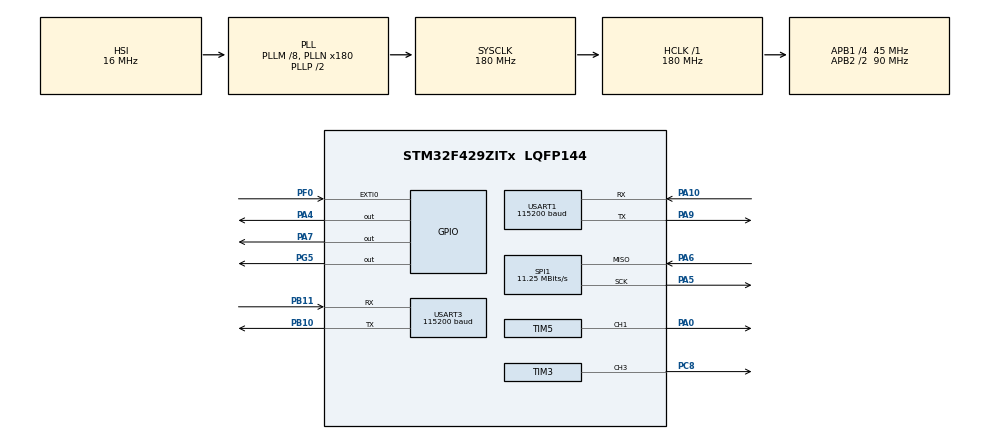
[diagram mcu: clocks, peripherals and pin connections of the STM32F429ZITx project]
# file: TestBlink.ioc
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Mcu.Family=STM32F4
Mcu.Name=STM32F429ZITx
Mcu.Package=LQFP144
NVIC.PriorityGroup=NVIC_PRIORITYGROUP_4
NVIC.TIM3_IRQn=true\:0\:0\:false\:false\:true\:true\:true
NVIC.TIM5_IRQn=true\:0\:0\:false\:false\:true\:true\:true
NVIC.USART3_IRQn=true\:0\:0\:false\:false\:true\:true\:true
PA0/WKUP.Signal=S_TIM5_CH1
PA10.Mode=Asynchronous
PA10.Signal=USART1_RX
PA4.GPIO_Speed=GPIO_SPEED_FREQ_VERY_HIGH
PA4.Signal=GPIO_Output
PA5.GPIO_PuPd=GPIO_PULLUP
PA5.GPIO_Speed=GPIO_SPEED_FREQ_VERY_HIGH
PA5.Mode=RX_Only_Simplex_Unidirect_Master
PA5.Signal=SPI1_SCK
PA6.GPIO_PuPd=GPIO_PULLUP
PA6.Mode=RX_Only_Simplex_Unidirect_Master
PA6.Signal=SPI1_MISO
PA7.GPIO_Speed=GPIO_SPEED_FREQ_VERY_HIGH
PA7.Signal=GPIO_Output
PA9.Mode=Asynchronous
PA9.Signal=USART1_TX
PB10.Mode=Asynchronous
PB10.Signal=USART3_TX
PB11.Mode=Asynchronous
PB11.Signal=USART3_RX
PC8.Signal=S_TIM3_CH3
PF0.GPIO_ModeDefaultEXTI=GPIO_MODE_IT_RISING
PF0.GPIO_PuPd=GPIO_PULLDOWN
PF0.Signal=GPXTI0
PG5.Signal=GPIO_Output
PH0/OSC_IN.Mode=HSE-External-Oscillator
PH0/OSC_IN.Signal=RCC_OSC_IN
PH1/OSC_OUT.Mode=HSE-External-Oscillator
PH1/OSC_OUT.Signal=RCC_OSC_OUT
ProjectManager.HeapSize=0x200
ProjectManager.StackSize=0x400
ProjectManager.TargetToolchain=MDK-ARM V5.27
RCC.48MHZClocksFreq_Value=90000000
RCC.AHBFreq_Value=180000000
RCC.APB1CLKDivider=RCC_HCLK_DIV4
RCC.APB1Freq_Value=45000000
RCC.APB1TimFreq_Value=90000000
RCC.APB2CLKDivider=RCC_HCLK_DIV2
RCC.APB2Freq_Value=90000000
RCC.APB2TimFreq_Value=180000000
RCC.CortexFreq_Value=180000000
RCC.HCLKFreq_Value=180000000
RCC.HSE_VALUE=25000000
RCC.HSI_VALUE=16000000
RCC.LSE_VALUE=32768
RCC.PLLM=8
RCC.PLLN=180
RCC.SYSCLKFreq_VALUE=180000000
RCC.SYSCLKSource=RCC_SYSCLKSOURCE_PLLCLK
RCC.VCOOutputFreq_Value=360000000
SH.S_TIM3_CH3.0=TIM3_CH3,PWM Generation3 CH3
SH.S_TIM5_CH1.0=TIM5_CH1,PWM Generation1 CH1
SPI1.BaudRatePrescaler=SPI_BAUDRATEPRESCALER_8
SPI1.CLKPhase=SPI_PHASE_1EDGE
SPI1.CLKPolarity=SPI_POLARITY_LOW
SPI1.CalculateBaudRate=11.25 MBits/s
SPI1.DataSize=SPI_DATASIZE_16BIT
SPI1.Direction=SPI_DIRECTION_2LINES_RXONLY
SPI1.FirstBit=SPI_FIRSTBIT_MSB
SPI1.Mode=SPI_MODE_MASTER
SPI1.VirtualType=VM_MASTER
TIM3.Channel-PWM\ Generation3\ CH3=TIM_CHANNEL_3
TIM3.Period=100
TIM3.Prescaler=3
TIM3.Pulse-PWM\ Generation3\ CH3=50
TIM5.Channel-Output\ Compare2\ No\ Output=TIM_CHANNEL_2
TIM5.Channel-PWM\ Generation1\ CH1=TIM_CHANNEL_1
TIM5.OCPolarity_2=TIM_OCPOLARITY_HIGH
TIM5.Period=5000000
TIM5.Prescaler=2
TIM5.Pulse-Output\ Compare2\ No\ Output=50000
TIM5.Pulse-PWM\ Generation1\ CH1=50000
USART1.BaudRate=115200
USART1.Mode=MODE_TX
USART1.VirtualMode=VM_ASYNC
USART3.BaudRate=115200
USART3.VirtualMode=VM_ASYNC
VP_TIM3_VS_ClockSourceINT.Mode=Internal
VP_TIM5_VS_ClockSourceINT.Mode=Internal
VP_TIM5_VS_no_output2.Mode=Output Compare2 No Output
board=custom

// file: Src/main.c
/* USER CODE BEGIN Header */
/**
  ******************************************************************************
  * @file           : main.c
  * @brief          : Main program body
  ******************************************************************************
  * @attention
  *
  * <h2><center>&copy; Copyright (c) 2020 STMicroelectronics.
  * All rights reserved.</center></h2>
  *
  * This software component is licensed by ST under BSD 3-Clause license,
  * the "License"; You may not use this file except in compliance with the
  * License. You may obtain a copy of the License at:
  *                        opensource.org/licenses/BSD-3-Clause
  *
  ******************************************************************************
  */
/* USER CODE END Header */

#include "main.h"

/* USER CODE BEGIN Includes */
#include "stdio.h"
#include "ADS8860.h"
#include "globalvars.h"
/* USER CODE END Includes */

SPI_HandleTypeDef hspi1;

TIM_HandleTypeDef htim3;
TIM_HandleTypeDef htim5;

UART_HandleTypeDef huart1;
UART_HandleTypeDef huart3;

/* USER CODE BEGIN PV */
extern volatile int triggered;
volatile int triggered;
uint16_t spektrum[288];
uint16_t werte[288];
volatile int dataReady = 0;
uint8_t readData = 0;
uint8_t recvdata[10];
/* USER CODE END PV */

void SystemClock_Config(void);
static void MX_GPIO_Init(void);
static void MX_SPI1_Init(void);
static void MX_USART1_UART_Init(void);
static void MX_TIM3_Init(void);
static void MX_TIM5_Init(void);
static void MX_USART3_UART_Init(void);
/* USER CODE BEGIN PFP */

// function, that sends data (1 byte) via UART to the digital host
void uart_put(uint8_t data){
 HAL_UART_Transmit(&huart1, &data, 1, 10);
}

/* This function is triggered by Timer 3,
so it is called every period of the CLK pulse of the spectrometer.
Due to this triggering, we make sure, that the analog value is sampled
exactly at the moment, a pixel value is clocked out */
void TIM3_IRQHandler(void)
{
  /* USER CODE BEGIN TIM3_IRQn 0 */

  /* USER CODE END TIM3_IRQn 0 */
  HAL_TIM_IRQHandler(&htim3);
  /* USER CODE BEGIN TIM3_IRQn 1 */

	/* Sample values only, if the correct amount of falling edges have been counted */
	if ((triggered >= 87) && (triggered < 375)) {
		// sample pixel value
    werte[triggered-87] = ADS8860_ReadValue();
  } else if (triggered == 375) {
		// if enough pixel values have been sampled, set dataReady flag
		dataReady = 1;
	}
	// increment variable triggered every period of Timer 3
	triggered++;
  /* USER CODE END TIM3_IRQn 1 */
}

/* This function is called on the falling edge of Timer 5 Channel 2 (Spectrometer ST) */
void HAL_TIM_PWM_PulseFinishedCallback(TIM_HandleTypeDef *htim) {
	// check that the interrupt was triggered by the right timer (Timer 5)
  if(htim->Instance == TIM5){
		// reset trigger gate counter
	  triggered = 0;
   }
}

/* USER CODE END PFP */

/* USER CODE BEGIN 0 */

void HAL_SPI_TxRxCpltCallback(SPI_HandleTypeDef *hspi) {
	__nop();
}

#ifdef __GNUC__
	#define PUTCHAR_PROTOTYPE int__io__putchar(int ch)
#else
	#define PUTCHAR_PROTOTYPE int fputc(int ch, FILE *f)
#endif

PUTCHAR_PROTOTYPE
{
	uart_put(ch);
	return ch;
}

/* USER CODE END 0 */

int main(void)
{

  /* MCU Configuration--------------------------------------------------------*/

  /* Reset of all peripherals, Initializes the Flash interface and the Systick. */
  HAL_Init();

  /* Configure the system clock */
  SystemClock_Config();

  /* Initialize all configured peripherals */
  MX_GPIO_Init();
  MX_SPI1_Init();
  MX_USART1_UART_Init();
  MX_TIM3_Init();
  MX_TIM5_Init();
  MX_USART3_UART_Init();
  /* USER CODE BEGIN 2 */

	// Enable PWM Output on Timer 3 Channel 3 (PC8)
	// -> CLK for Hamamatsu Spectrometer [225 kHz]
  HAL_TIM_PWM_Start(&htim3, TIM_CHANNEL_3);

	// Enable PWM Output on Timer 5 Channel 1 (PA0)
	// -> ST for Hamamatsu Spectrometer
	// [HIGH Period of ST determines integration time]
	HAL_TIM_PWM_Start(&htim5, TIM_CHANNEL_1);

	// Enable Timer 3 interrupt that triggers ADC
	HAL_TIM_Base_Start_IT(&htim3);

	// Enable Timer 5 interrupt (needed for ADC trigger gating)
	HAL_TIM_Base_Start_IT(&htim5);

	// Start Timer 5 Channel 2 Output Compare and interrupt (needed for ADC trigger gating)
	HAL_TIM_OC_Start(&htim5, TIM_CHANNEL_2);
  HAL_TIM_PWM_Start_IT(&htim5, TIM_CHANNEL_2);

	// Initialize ADC
	ads8860_Init();

  /* USER CODE END 2 */

  /* Infinite loop */
  /* USER CODE BEGIN WHILE */
  while (1)
  {
		/* Receive integration time from digital host
			 -> receive 6 bytes from digital host
					the first byte is just a control byte to make sure,
					that only wanted data is received
					the second, third, fourth and fifth bytes are data bytes
					that together form a 32 bit value for integration time

					from the C12880MA datasheet:
					"The integration time equals the high period of ST plus 48 CLK pulses"

					minimum start pulse high period: 6/f(CLK) = 6 / 250 kHz = 24 us => counter value: 730
					3.3 ms / 100000 = 33 ns integration time resolution
					min. integration time: 24 us + 48/250 kHz = 216 us
					max. integration time: MAX_INT*32 ns + 48/250 kHz = 68,7 s */

		// Declare and initialize variable rxValue and byte array rx_buff;
		uint32_t rxValue = 0;
		uint8_t rx_buff[6];

		// Receive 6 bytes from digital host
		HAL_UART_Receive(&huart3, rx_buff, 6, 10);

		// Convert the 4 data bytes to one 32 bit uint32_t value
		rxValue = (rx_buff[1] << 24) | (rx_buff[2] << 16) | (rx_buff[3] << 8) | rx_buff[4];

		// If control byte has the right value (0x1F) and rxValue is > 0, set timer values
		if ((rx_buff[0] == 0x1F) && (rxValue > 0)) {
			// Set Timer 5 Counter Period
			TIM5->ARR = rxValue + 5000000;
			// Set Timer 5 Channel 1 Pulse
			TIM5->CCR1 = rxValue;
			// Set Timer 5 Channel 2 Pulse
			TIM5->CCR2 = rxValue;
		}

		// if data is ready, send spectrum to digital host via UART
		if (dataReady == 1) {
			// reset dataReady flag
			dataReady = 0;

			// send string "!spek!" to digital host
			uart_put(10);
			uart_put(33);
			uart_put(115);
			uart_put(112);
			uart_put(101);
			uart_put(107);
			uart_put(33);
			uart_put(10);

			/* send spectrum to the digital host
				 to do this this, iterate through the whole spectrum array,
				 split the 16 bit value into two 8 bit values and
				 send the values via UART */
			for (uint16_t i=0;i<288;i++) {
				uint8_t xlow = werte[i] & 0xff;
				uint8_t xhigh = (werte[i] >> 8);
				uart_put(xhigh);
				uart_put(xlow);
			}
	  }

    /* USER CODE END WHILE */

  }
}

void SystemClock_Config(void)
{
  RCC_OscInitTypeDef RCC_OscInitStruct = {0};
  RCC_ClkInitTypeDef RCC_ClkInitStruct = {0};

  /** Configure the main internal regulator output voltage
  */
  __HAL_RCC_PWR_CLK_ENABLE();
  __HAL_PWR_VOLTAGESCALING_CONFIG(PWR_REGULATOR_VOLTAGE_SCALE1);
  /** Initializes the CPU, AHB and APB busses clocks
  */
  RCC_OscInitStruct.OscillatorType = RCC_OSCILLATORTYPE_HSI;
  RCC_OscInitStruct.HSIState = RCC_HSI_ON;
  RCC_OscInitStruct.HSICalibrationValue = RCC_HSICALIBRATION_DEFAULT;
  RCC_OscInitStruct.PLL.PLLState = RCC_PLL_ON;
  RCC_OscInitStruct.PLL.PLLSource = RCC_PLLSOURCE_HSI;
  RCC_OscInitStruct.PLL.PLLM = 8;
  RCC_OscInitStruct.PLL.PLLN = 180;
  RCC_OscInitStruct.PLL.PLLP = RCC_PLLP_DIV2;
  RCC_OscInitStruct.PLL.PLLQ = 4;
  if (HAL_RCC_OscConfig(&RCC_OscInitStruct) != HAL_OK)
  {
    Error_Handler();
  }
  /** Activate the Over-Drive mode
  */
  if (HAL_PWREx_EnableOverDrive() != HAL_OK)
  {
    Error_Handler();
  }
  /** Initializes the CPU, AHB and APB busses clocks
  */
  RCC_ClkInitStruct.ClockType = RCC_CLOCKTYPE_HCLK|RCC_CLOCKTYPE_SYSCLK
                              |RCC_CLOCKTYPE_PCLK1|RCC_CLOCKTYPE_PCLK2;
  RCC_ClkInitStruct.SYSCLKSource = RCC_SYSCLKSOURCE_PLLCLK;
  RCC_ClkInitStruct.AHBCLKDivider = RCC_SYSCLK_DIV1;
  RCC_ClkInitStruct.APB1CLKDivider = RCC_HCLK_DIV4;
  RCC_ClkInitStruct.APB2CLKDivider = RCC_HCLK_DIV2;

  if (HAL_RCC_ClockConfig(&RCC_ClkInitStruct, FLASH_LATENCY_5) != HAL_OK)
  {
    Error_Handler();
  }
}

static void MX_SPI1_Init(void)
{

  /* SPI1 parameter configuration*/
  hspi1.Instance = SPI1;
  hspi1.Init.Mode = SPI_MODE_MASTER;
  hspi1.Init.Direction = SPI_DIRECTION_2LINES_RXONLY;
  hspi1.Init.DataSize = SPI_DATASIZE_16BIT;
  hspi1.Init.CLKPolarity = SPI_POLARITY_LOW;
  hspi1.Init.CLKPhase = SPI_PHASE_1EDGE;
  hspi1.Init.NSS = SPI_NSS_SOFT;
  hspi1.Init.BaudRatePrescaler = SPI_BAUDRATEPRESCALER_8;
  hspi1.Init.FirstBit = SPI_FIRSTBIT_MSB;
  hspi1.Init.TIMode = SPI_TIMODE_DISABLE;
  hspi1.Init.CRCCalculation = SPI_CRCCALCULATION_DISABLE;
  hspi1.Init.CRCPolynomial = 10;
  if (HAL_SPI_Init(&hspi1) != HAL_OK)
  {
    Error_Handler();
  }

}

static void MX_TIM3_Init(void)
{

  TIM_ClockConfigTypeDef sClockSourceConfig = {0};
  TIM_MasterConfigTypeDef sMasterConfig = {0};
  TIM_OC_InitTypeDef sConfigOC = {0};

  htim3.Instance = TIM3;
  htim3.Init.Prescaler = 3;
  htim3.Init.CounterMode = TIM_COUNTERMODE_UP;
  htim3.Init.Period = 100;
  htim3.Init.ClockDivision = TIM_CLOCKDIVISION_DIV1;
  htim3.Init.AutoReloadPreload = TIM_AUTORELOAD_PRELOAD_DISABLE;
  if (HAL_TIM_Base_Init(&htim3) != HAL_OK)
  {
    Error_Handler();
  }
  sClockSourceConfig.ClockSource = TIM_CLOCKSOURCE_INTERNAL;
  if (HAL_TIM_ConfigClockSource(&htim3, &sClockSourceConfig) != HAL_OK)
  {
    Error_Handler();
  }
  if (HAL_TIM_PWM_Init(&htim3) != HAL_OK)
  {
    Error_Handler();
  }
  sMasterConfig.MasterOutputTrigger = TIM_TRGO_RESET;
  sMasterConfig.MasterSlaveMode = TIM_MASTERSLAVEMODE_DISABLE;
  if (HAL_TIMEx_MasterConfigSynchronization(&htim3, &sMasterConfig) != HAL_OK)
  {
    Error_Handler();
  }
  sConfigOC.OCMode = TIM_OCMODE_PWM1;
  sConfigOC.Pulse = 50;
  sConfigOC.OCPolarity = TIM_OCPOLARITY_HIGH;
  sConfigOC.OCFastMode = TIM_OCFAST_DISABLE;
  if (HAL_TIM_PWM_ConfigChannel(&htim3, &sConfigOC, TIM_CHANNEL_3) != HAL_OK)
  {
    Error_Handler();
  }
  HAL_TIM_MspPostInit(&htim3);

}

static void MX_TIM5_Init(void)
{

  TIM_ClockConfigTypeDef sClockSourceConfig = {0};
  TIM_MasterConfigTypeDef sMasterConfig = {0};
  TIM_OC_InitTypeDef sConfigOC = {0};

  htim5.Instance = TIM5;
  htim5.Init.Prescaler = 2;
  htim5.Init.CounterMode = TIM_COUNTERMODE_UP;
  htim5.Init.Period = 5000000;
  htim5.Init.ClockDivision = TIM_CLOCKDIVISION_DIV1;
  htim5.Init.AutoReloadPreload = TIM_AUTORELOAD_PRELOAD_DISABLE;
  if (HAL_TIM_Base_Init(&htim5) != HAL_OK)
  {
    Error_Handler();
  }
  sClockSourceConfig.ClockSource = TIM_CLOCKSOURCE_INTERNAL;
  if (HAL_TIM_ConfigClockSource(&htim5, &sClockSourceConfig) != HAL_OK)
  {
    Error_Handler();
  }
  if (HAL_TIM_PWM_Init(&htim5) != HAL_OK)
  {
    Error_Handler();
  }
  if (HAL_TIM_OC_Init(&htim5) != HAL_OK)
  {
    Error_Handler();
  }
  sMasterConfig.MasterOutputTrigger = TIM_TRGO_RESET;
  sMasterConfig.MasterSlaveMode = TIM_MASTERSLAVEMODE_DISABLE;
  if (HAL_TIMEx_MasterConfigSynchronization(&htim5, &sMasterConfig) != HAL_OK)
  {
    Error_Handler();
  }
  sConfigOC.OCMode = TIM_OCMODE_PWM1;
  sConfigOC.Pulse = 500;
  sConfigOC.OCPolarity = TIM_OCPOLARITY_HIGH;
  sConfigOC.OCFastMode = TIM_OCFAST_DISABLE;
  if (HAL_TIM_PWM_ConfigChannel(&htim5, &sConfigOC, TIM_CHANNEL_1) != HAL_OK)
  {
    Error_Handler();
  }
  sConfigOC.OCMode = TIM_OCMODE_TIMING;
  if (HAL_TIM_OC_ConfigChannel(&htim5, &sConfigOC, TIM_CHANNEL_2) != HAL_OK)
  {
    Error_Handler();
  }
  HAL_TIM_MspPostInit(&htim5);

}

static void MX_USART1_UART_Init(void)
{

  huart1.Instance = USART1;
  huart1.Init.BaudRate = 115200;
  huart1.Init.WordLength = UART_WORDLENGTH_8B;
  huart1.Init.StopBits = UART_STOPBITS_1;
  huart1.Init.Parity = UART_PARITY_NONE;
  huart1.Init.Mode = UART_MODE_TX;
  huart1.Init.HwFlowCtl = UART_HWCONTROL_NONE;
  huart1.Init.OverSampling = UART_OVERSAMPLING_16;
  if (HAL_UART_Init(&huart1) != HAL_OK)
  {
    Error_Handler();
  }

}

static void MX_USART3_UART_Init(void)
{

  huart3.Instance = USART3;
  huart3.Init.BaudRate = 115200;
  huart3.Init.WordLength = UART_WORDLENGTH_8B;
  huart3.Init.StopBits = UART_STOPBITS_1;
  huart3.Init.Parity = UART_PARITY_NONE;
  huart3.Init.Mode = UART_MODE_TX_RX;
  huart3.Init.HwFlowCtl = UART_HWCONTROL_NONE;
  huart3.Init.OverSampling = UART_OVERSAMPLING_16;
  if (HAL_UART_Init(&huart3) != HAL_OK)
  {
    Error_Handler();
  }

}

static void MX_GPIO_Init(void)
{
  GPIO_InitTypeDef GPIO_InitStruct = {0};

  /* GPIO Ports Clock Enable */
  __HAL_RCC_GPIOF_CLK_ENABLE();
  __HAL_RCC_GPIOH_CLK_ENABLE();
  __HAL_RCC_GPIOA_CLK_ENABLE();
  __HAL_RCC_GPIOB_CLK_ENABLE();
  __HAL_RCC_GPIOG_CLK_ENABLE();
  __HAL_RCC_GPIOC_CLK_ENABLE();

  /*Configure GPIO pin Output Level */
  HAL_GPIO_WritePin(GPIOA, GPIO_PIN_4|GPIO_PIN_7, GPIO_PIN_RESET);

  /*Configure GPIO pin Output Level */
  HAL_GPIO_WritePin(GPIOG, GPIO_PIN_5, GPIO_PIN_RESET);

  /*Configure GPIO pin : PF0 */
  GPIO_InitStruct.Pin = GPIO_PIN_0;
  GPIO_InitStruct.Mode = GPIO_MODE_IT_RISING;
  GPIO_InitStruct.Pull = GPIO_PULLDOWN;
  HAL_GPIO_Init(GPIOF, &GPIO_InitStruct);

  /*Configure GPIO pins : PA4 PA7 */
  GPIO_InitStruct.Pin = GPIO_PIN_4|GPIO_PIN_7;
  GPIO_InitStruct.Mode = GPIO_MODE_OUTPUT_PP;
  GPIO_InitStruct.Pull = GPIO_NOPULL;
  GPIO_InitStruct.Speed = GPIO_SPEED_FREQ_VERY_HIGH;
  HAL_GPIO_Init(GPIOA, &GPIO_InitStruct);

  /*Configure GPIO pin : PG5 */
  GPIO_InitStruct.Pin = GPIO_PIN_5;
  GPIO_InitStruct.Mode = GPIO_MODE_OUTPUT_PP;
  GPIO_InitStruct.Pull = GPIO_NOPULL;
  GPIO_InitStruct.Speed = GPIO_SPEED_FREQ_LOW;
  HAL_GPIO_Init(GPIOG, &GPIO_InitStruct);

}

/* USER CODE BEGIN 4 */
void HAL_UART_RxCpltCallback(UART_HandleTypeDef *huart) {

//	__nop();
}
void HAL_UART_TxCpltCallback(UART_HandleTypeDef *huart) {
//	__nop();
}
/* USER CODE END 4 */

void Error_Handler(void)
{
}

/************************ (C) COPYRIGHT STMicroelectronics *****END OF FILE****/
